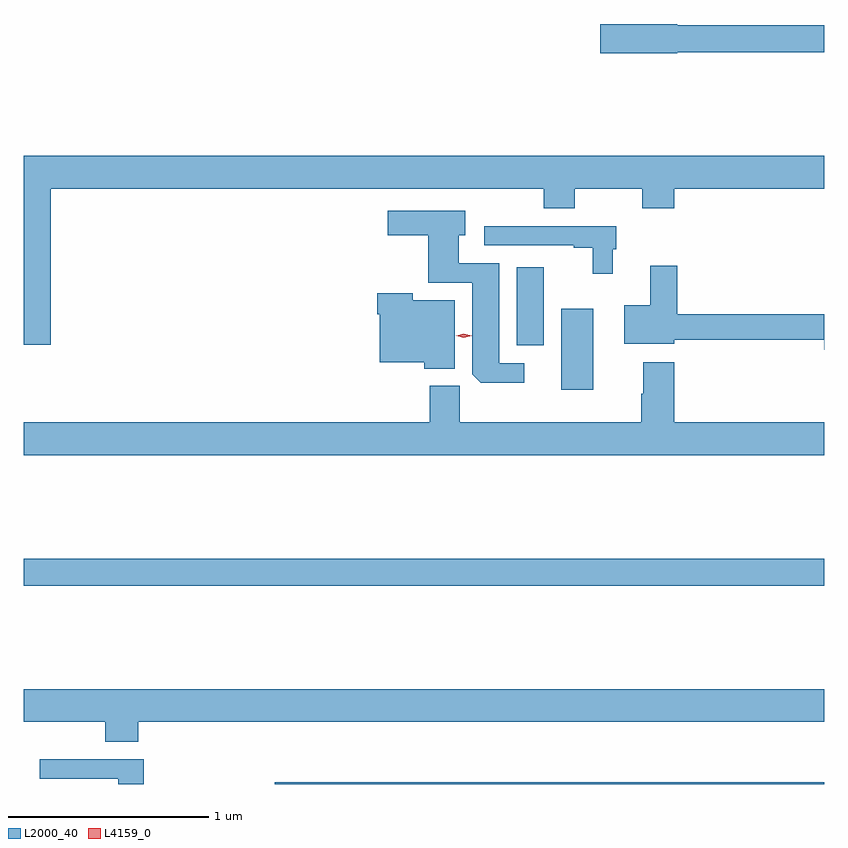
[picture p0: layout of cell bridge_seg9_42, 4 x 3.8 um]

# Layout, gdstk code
import gdstk
lib = gdstk.Library(unit=1e-6, precision=1e-09)
def R(c, l, rs):  # rectangles x0, y0, x1, y1
    for r in rs: c.add(gdstk.rectangle(r[:2], r[2:], *l))
def P(c, l, *ps):  # polygons
    for p in ps: c.add(gdstk.Polygon(p, *l))
L2000_40 = (2000, 40)
L4159_0 = (4159, 0)

bridge_seg9_42 = lib.new_cell('bridge_seg9_42')
R(bridge_seg9_42, L2000_40, [(970.901,1206.766,973.647,1206.775), (969.647,1207.756,973.647,1207.892), (972.332,1208.736,972.493,1209.139), (972.11,1208.958,972.244,1209.346)])
P(bridge_seg9_42, L2000_40, [(972.912,1210.42),(973.647,1210.42),(973.647,1210.556),(972.912,1210.556),(972.912,1210.562),(972.528,1210.562),(972.528,1210.415),(972.912,1210.415)],
  [(969.647,1208.961),(969.782,1208.961),(969.782,1209.74),(972.244,1209.74),(972.244,1209.641),(972.399,1209.641),(972.399,1209.74),(972.736,1209.74),(972.736,1209.641),(972.896,1209.641),(972.896,1209.74),(973.647,1209.74),(973.647,1209.904),(969.647,1209.904)],
  [(972.148,1208.868),(972.022,1208.868),(972.022,1209.367),(971.821,1209.367),(971.821,1209.506),(971.854,1209.506),(971.854,1209.628),(971.466,1209.628),(971.466,1209.506),(971.669,1209.506),(971.669,1209.27),(971.888,1209.27),(971.888,1208.812),(971.93,1208.771),(972.148,1208.771)],
  [(972.59,1209.438),(972.608,1209.438),(972.608,1209.552),(971.949,1209.552),(971.949,1209.456),(972.395,1209.456),(972.395,1209.444),(972.49,1209.444),(972.49,1209.315),(972.59,1209.315)],
  [(973.647,1209.113),(972.911,1209.113),(972.911,1209.355),(972.776,1209.355),(972.776,1209.157),(972.647,1209.157),(972.647,1208.966),(972.898,1208.966),(972.898,1208.985),(973.646,1208.985),(973.646,1208.935),(973.647,1208.935)],
  [(971.8,1209.181),(971.592,1209.181),(971.592,1209.217),(971.414,1209.217),(971.414,1209.113),(971.426,1209.113),(971.426,1208.873),(971.648,1208.873),(971.648,1208.84),(971.8,1208.84)],
  [(973.647,1208.572),(972.896,1208.572),(972.896,1208.872),(972.743,1208.872),(972.743,1208.714),(972.731,1208.714),(972.731,1208.572),(971.825,1208.572),(971.825,1208.754),(971.675,1208.754),(971.675,1208.572),(969.647,1208.572),(969.647,1208.408),(973.647,1208.408)],
  [(969.647,1207.076),(970.055,1207.076),(970.055,1206.977),(970.22,1206.977),(970.22,1207.076),(973.647,1207.076),(973.647,1207.24),(969.647,1207.24)],
  [(970.247,1206.89),(969.729,1206.89),(969.729,1206.792),(970.121,1206.792),(970.121,1206.766),(970.247,1206.766)])
P(bridge_seg9_42, L4159_0, [(971.846,1208.995),(971.807,1209.005),(971.807,1209.005),(971.807,1209.005),(971.846,1209.015),(971.885,1209.005),(971.885,1209.005),(971.885,1209.004)])

lib.write_gds('bridge_seg9_42.gds')
